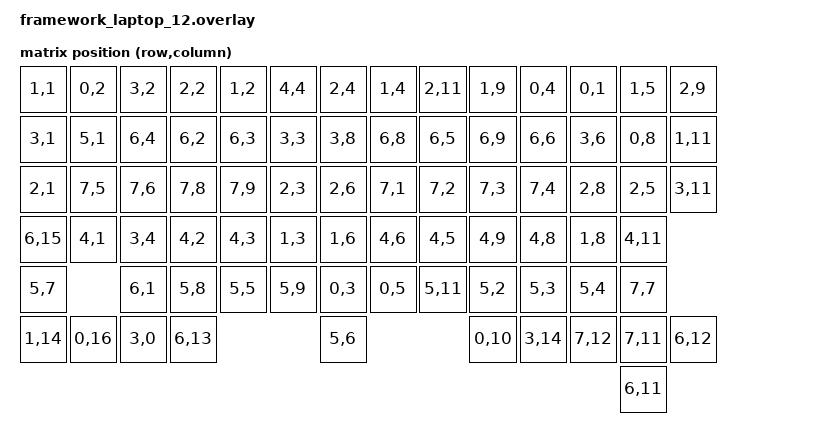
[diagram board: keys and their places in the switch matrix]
/*
 * Copyright (c) 2025 Framework Computer Inc
 *
 * SPDX-License-Identifier: MIT
 */

#include <dt-bindings/led/led.h>
#include <dt-bindings/zmk/matrix_transform.h>

/ {
    chosen {
	zmk,matrix-transform = &framework12_transform;
    };

    framework12_transform: framework12_transform {
        compatible = "zmk,matrix-transform";
        rows = <8>;
        columns = <18>;

        // (row, col)
        map = <
        RC(1,1)  RC(0,2)  RC(3,2)  RC(2,2)  RC(1,2)  RC(4,4)  RC(2,4)  RC(1,4)  RC(2,11) RC(1,9)  RC(0,4)  RC(0,1)  RC(1,5)  RC(2,9)
        RC(3,1)  RC(5,1)  RC(6,4)  RC(6,2)  RC(6,3)  RC(3,3)  RC(3,8)  RC(6,8)  RC(6,5)  RC(6,9)  RC(6,6)  RC(3,6)  RC(0,8)  RC(1,11)
        RC(2,1)  RC(7,5)  RC(7,6)  RC(7,8)  RC(7,9)  RC(2,3)  RC(2,6)  RC(7,1)  RC(7,2) RC(7,3)   RC(7,4)  RC(2,8)  RC(2,5)  RC(3,11)
        RC(6,15) RC(4,1)  RC(3,4)  RC(4,2)  RC(4,3)  RC(1,3)  RC(1,6)  RC(4,6)  RC(4,5)  RC(4,9)  RC(4,8)  RC(1,8)  RC(4,11)
        RC(5,7)           RC(6,1)  RC(5,8)  RC(5,5)  RC(5,9)  RC(0,3)  RC(0,5)  RC(5,11) RC(5,2)  RC(5,3)  RC(5,4)  RC(7,7)
        RC(1,14) RC(0,16) RC(3,0)  RC(6,13)                   RC(5,6)                    RC(0,10) RC(3,14) RC(7,12) RC(7,11) RC(6,12)
                                                                                                                    RC(6,11)
        >;
    };
};
